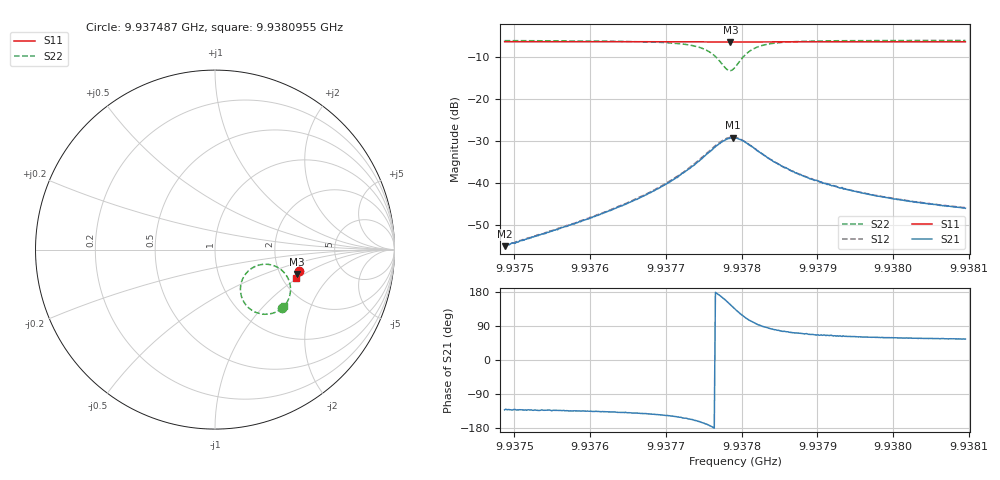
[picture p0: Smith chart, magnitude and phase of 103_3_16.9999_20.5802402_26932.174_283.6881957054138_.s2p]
#  HZ  S  RI  R  50.00
! Rohde & Schwarz Vector Network Analyzer
! Rohde-Schwarz,ZNB20-2Port,1311601062101988,3.16
! Created: UTC 3/20/2024, 10:56:43 PM
! freq[Hz]  re:S11  im:S11  re:S21  im:S21  re:S12  im:S12  re:S22  im:S22
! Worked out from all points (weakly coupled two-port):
!   401 points, 9.937487 GHz to 9.9380955 GHz, reference 50 ohm
!   highest |S21| = -29.17 dB at 9.9377882 GHz (marker M1); lowest = -54.9 dB at 9.937487 GHz (marker M2)
!   lowest |S11| = -6.4 dB at 9.9377851 GHz (marker M3), VSWR 2.83, Z = 123 - j43.5 ohm
!   |S11| at or under -10 dB: nowhere
!   |S22| runs from -13.2 to -6.0 dB; largest |S21 - S12| = 0.0019
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9.937487e9  0.4678 -0.1184  -0.00119 -0.00134  -0.00118 -0.00137  0.375 -0.3248
9.93758892e9  0.4656 -0.1253  -0.00251 -0.00253  -0.0026 -0.00251  0.358 -0.3375
9.9376452e9  0.464 -0.1293  -0.00418 -0.00368  -0.00432 -0.0037  0.3402 -0.3473
9.93769084e9  0.4627 -0.1324  -0.00716 -0.00511  -0.00738 -0.00511  0.3122 -0.3571
9.9377243e9  0.4613 -0.1348  -0.0121 -0.00604  -0.0125 -0.00604  0.2694 -0.36
9.93774864e9  0.4599 -0.1365  -0.0196 -0.00491  -0.0202 -0.00468  0.2095 -0.3406
9.93776081e9  0.459 -0.1373  -0.025 -0.00172  -0.0258 -0.000825  0.169 -0.3038
9.93777146e9  0.4579 -0.1371  -0.0293 0.00522  -0.0302 0.00662  0.1431 -0.2408
9.93777906e9  0.4576 -0.1366  -0.0305 0.0128  -0.0306 0.0144  0.148 -0.179
9.93778515e9  0.4573 -0.1363  -0.0288 0.0192  -0.0284 0.0209  0.1748 -0.1306
9.93778819e9  0.4575 -0.1361  -0.0268 0.0222  -0.0262 0.0236  0.1953 -0.111
9.93779123e9  0.4576 -0.136  -0.0243 0.0247  -0.0235 0.0262  0.2191 -0.0961
9.93779884e9  0.4583 -0.1359  -0.0169 0.0282  -0.0159 0.0292  0.2817 -0.0815
9.93780644e9  0.4588 -0.1361  -0.0101 0.0284  -0.00905 0.0289  0.3352 -0.0925
9.93781405e9  0.4592 -0.1368  -0.00502 0.0266  -0.004 0.0269  0.3724 -0.1154
9.93782318e9  0.4597 -0.1377  -0.0009 0.0236  1.02e-05 0.0236  0.3985 -0.1454
9.93783687e9  0.4598 -0.1388  0.00226 0.0193  0.00291 0.0193  0.4159 -0.1839
9.93785512e9  0.4597 -0.1406  0.0039 0.0152  0.00421 0.0151  0.4208 -0.2195
9.93789315e9  0.459 -0.1435  0.00428 0.0103  0.00451 0.0104  0.4154 -0.2601
9.93793574e9  0.4579 -0.1466  0.00395 0.00761  0.00411 0.00761  0.4069 -0.2824
9.93799507e9  0.4564 -0.1506  0.00343 0.00572  0.00357 0.00571  0.3973 -0.2999
9.93809546e9  0.4539 -0.1572  0.00288 0.00416  0.00301 0.00417  0.3859 -0.3157
